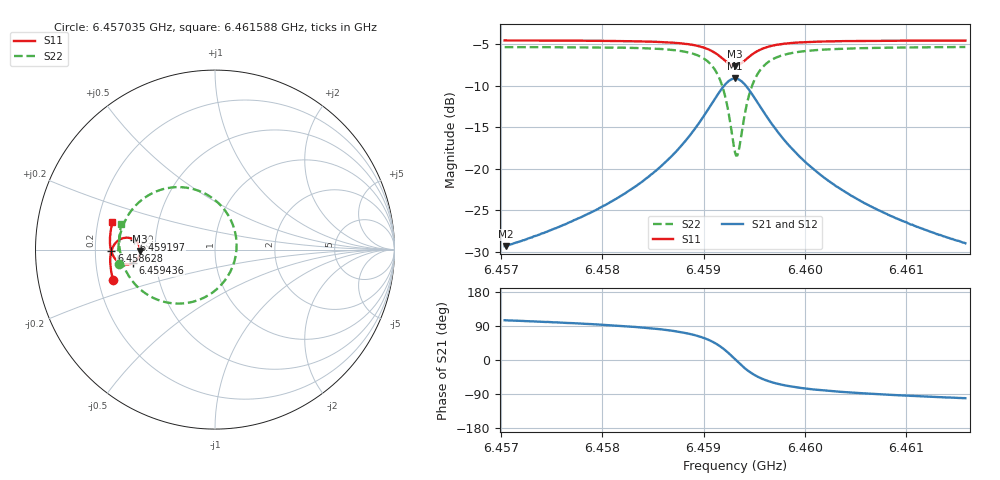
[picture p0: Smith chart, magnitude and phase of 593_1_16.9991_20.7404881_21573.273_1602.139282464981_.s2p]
#  HZ  S  RI  R  50.00
! Rohde & Schwarz Vector Network Analyzer
! Rohde-Schwarz,ZNB20-2Port,1311601062101988,3.16
! Created: UTC 3/20/2024, 11:18:42 PM
! freq[Hz]  re:S11  im:S11  re:S21  im:S21  re:S12  im:S12  re:S22  im:S22
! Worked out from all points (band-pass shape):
!   401 points, 6.457035 GHz to 6.461588 GHz, reference 50 ohm
!   highest |S21| = -9.13 dB at 6.459311 GHz (marker M1); lowest = -29.3 dB at 6.457046 GHz (marker M2)
!   |S21| within 3 dB of the highest: 6.459084 GHz to 6.459539 GHz (455.3 kHz wide, 0.00705 % of centre)
!   lowest |S11| = -7.6 dB at 6.459311 GHz (marker M3), VSWR 2.43, Z = 20.6 - j0.41 ohm
!   |S11| at or under -10 dB: nowhere
!   |S22| runs from -18.4 to -5.3 dB; largest |S21 - S12| = 0.014
!   S11 on the Smith chart (normalised r, x): 6.457035 GHz: 0.26, -0.13; 6.458628 GHz: 0.27, -0.01; 6.459197 GHz: 0.38, +0.05; 6.459436 GHz: 0.37, -0.07; 6.461588 GHz: 0.26, +0.12
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6.4570346e9  -0.5679 -0.1677  -0.00879 0.033  -0.00702 0.0328  -0.5338 -0.0797
6.457046e9  -0.5681 -0.1668  -0.00878 0.033  -0.00693 0.0331  -0.5341 -0.0785
6.4577973e9  -0.5814 -0.1008  -0.00532 0.051  -0.00277 0.0504  -0.5382 0.0106
6.458207e9  -0.5839 -0.0596  0.000575 0.07  0.00389 0.0686  -0.53 0.0758
6.4585599e9  -0.5799 -0.0172  0.0149 0.0998  0.019 0.097  -0.5034 0.1559
6.4586282e9  -0.5774 -0.00776  0.0203 0.1082  0.0245 0.1049  -0.493 0.176
6.4588217e9  -0.5646 0.0226  0.0473 0.1394  0.0515 0.1343  -0.4424 0.2455
6.4589697e9  -0.5416 0.0489  0.0932 0.1698  0.0966 0.163  -0.3577 0.31
6.4591063e9  -0.4974 0.0661  0.1812 0.1861  0.1823 0.1788  -0.1964 0.3481
6.4591974e9  -0.4524 0.0556  0.2719 0.1543  0.2722 0.1484  -0.0282 0.2963
6.4592657e9  -0.4232 0.0232  0.3328 0.0816  0.335 0.0763  0.088 0.1649
6.4593112e9  -0.4163 -0.00822  0.3493 0.0129  0.3531 0.00583  0.1202 0.0361
6.4593454e9  -0.4203 -0.0321  0.3431 -0.0402  0.3472 -0.0494  0.1084 -0.0644
6.4593909e9  -0.436 -0.0586  0.3142 -0.1005  0.3165 -0.1128  0.0495 -0.1792
6.4594364e9  -0.4584 -0.0751  0.2715 -0.1421  0.2707 -0.1556  -0.0371 -0.2546
6.4595275e9  -0.5022 -0.082  0.1856 -0.1732  0.1793 -0.185  -0.2085 -0.3007
6.4596755e9  -0.5464 -0.0614  0.0967 -0.1588  0.0881 -0.1652  -0.3782 -0.2499
6.4598348e9  -0.5682 -0.0337  0.0516 -0.1304  0.0437 -0.1333  -0.4593 -0.1767
6.4600739e9  -0.5809 0.00202  0.0221 -0.0984  0.0162 -0.099  -0.5073 -0.0933
6.460404e9  -0.5854 0.0415  0.00647 -0.0719  0.00226 -0.0714  -0.5285 -0.0158
6.4608365e9  -0.5835 0.0852  -0.00162 -0.0525  -0.00452 -0.0516  -0.5328 0.0547
6.4615878e9  -0.5713 0.1521  -0.00665 -0.0349  -0.00841 -0.034  -0.5213 0.1443
